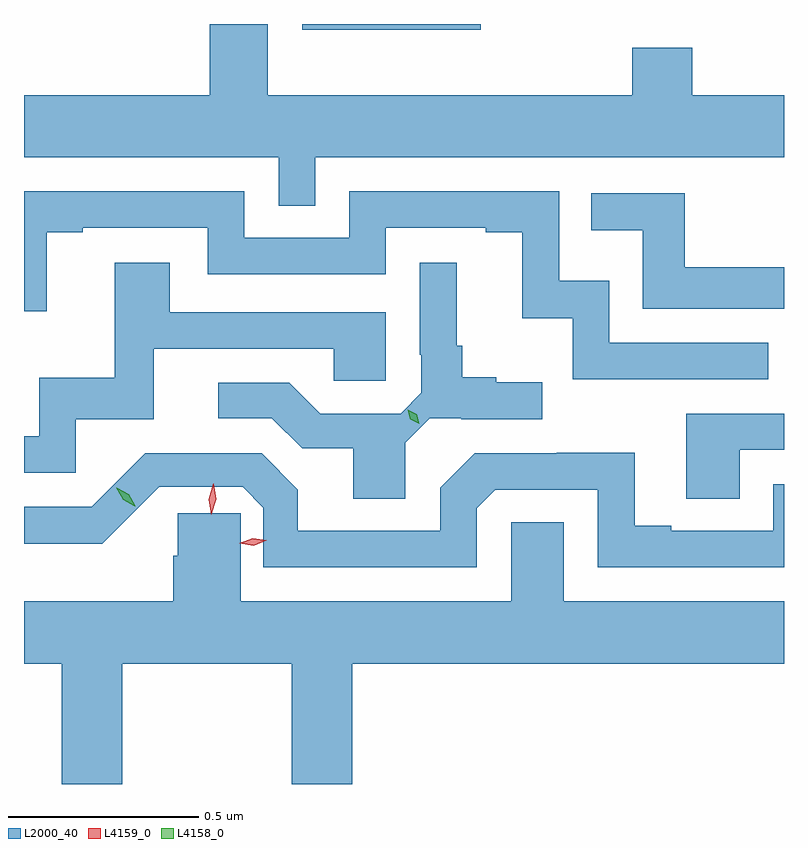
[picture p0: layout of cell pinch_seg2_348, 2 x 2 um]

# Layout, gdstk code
import gdstk
lib = gdstk.Library(unit=1e-6, precision=1e-09)
def R(c, l, rs):  # rectangles x0, y0, x1, y1
    for r in rs: c.add(gdstk.rectangle(r[:2], r[2:], *l))
def P(c, l, *ps):  # polygons
    for p in ps: c.add(gdstk.Polygon(p, *l))
L2000_40 = (2000, 40)
L4158_0 = (4158, 0)
L4159_0 = (4159, 0)

pinch_seg2_348 = lib.new_cell('pinch_seg2_348')
R(pinch_seg2_348, L2000_40, [(1012.496,635.984,1012.966,635.999)])
P(pinch_seg2_348, L2000_40, [(1012.53,635.648),(1013.764,635.648),(1013.764,635.812),(1013.522,635.812),(1013.522,635.936),(1013.365,635.936),(1013.365,635.812),(1012.405,635.812),(1012.405,635.999),(1012.253,635.999),(1012.253,635.812),(1011.764,635.812),(1011.764,635.648),(1012.434,635.648),(1012.434,635.521),(1012.53,635.521)],
  [(1013.723,635.16),(1013.304,635.16),(1013.304,635.323),(1013.172,635.323),(1013.172,635.559),(1012.62,635.559),(1012.62,635.436),(1012.344,635.436),(1012.344,635.559),(1011.764,635.559),(1011.764,635.243),(1011.824,635.243),(1011.824,635.451),(1011.919,635.451),(1011.919,635.463),(1012.248,635.463),(1012.248,635.34),(1012.716,635.34),(1012.716,635.463),(1012.979,635.463),(1012.979,635.451),(1013.075,635.451),(1013.075,635.225),(1013.208,635.225),(1013.208,635.064),(1013.723,635.064)],
  [(1013.764,635.359),(1013.503,635.359),(1013.503,635.553),(1013.257,635.553),(1013.257,635.456),(1013.392,635.456),(1013.392,635.25),(1013.764,635.25)],
  [(1012.767,634.897),(1012.832,634.962),(1012.914,634.962),(1012.914,634.959),(1013.128,634.959),(1013.128,635.056),(1013.007,635.056),(1013.007,635.07),(1012.917,635.07),(1012.917,635.152),(1012.903,635.152),(1012.903,635.371),(1012.806,635.371),(1012.806,635.128),(1012.809,635.128),(1012.809,635.028),(1012.755,634.974),(1012.543,634.974),(1012.462,635.055),(1012.275,635.055),(1012.275,634.962),(1012.416,634.962),(1012.496,634.882),(1012.631,634.882),(1012.631,634.75),(1012.767,634.75)],
  [(1011.9,634.959),(1012.105,634.959),(1012.105,635.145),(1012.579,635.145),(1012.579,635.06),(1012.716,635.06),(1012.716,635.241),(1012.147,635.241),(1012.147,635.371),(1012.003,635.371),(1012.003,635.068),(1011.804,635.068),(1011.804,634.914),(1011.764,634.914),(1011.764,634.818),(1011.9,634.818)],
  [(1013.647,634.878),(1013.764,634.878),(1013.764,634.974),(1013.507,634.974),(1013.507,634.75),(1013.647,634.75)],
  [(1012.956,634.725),(1013.004,634.773),(1013.274,634.773),(1013.274,634.569),(1013.764,634.569),(1013.764,634.788),(1013.736,634.788),(1013.736,634.665),(1013.467,634.665),(1013.467,634.678),(1013.371,634.678),(1013.371,634.871),(1013.166,634.871),(1013.166,634.869),(1012.95,634.869),(1012.86,634.779),(1012.86,634.665),(1012.484,634.665),(1012.484,634.774),(1012.389,634.869),(1012.083,634.869),(1011.942,634.728),(1011.764,634.728),(1011.764,634.631),(1011.97,634.631),(1012.12,634.781),(1012.339,634.781),(1012.394,634.726),(1012.394,634.569),(1012.956,634.569)],
  [(1012.023,634.316),(1012.468,634.316),(1012.468,633.999),(1012.628,633.999),(1012.628,634.316),(1013.764,634.316),(1013.764,634.48),(1013.185,634.48),(1013.185,634.688),(1013.046,634.688),(1013.046,634.48),(1012.334,634.48),(1012.334,634.711),(1012.169,634.711),(1012.169,634.6),(1012.157,634.6),(1012.157,634.48),(1011.764,634.48),(1011.764,634.316),(1011.863,634.316),(1011.863,633.999),(1012.023,633.999)])
P(pinch_seg2_348, L4158_0, [(1012.804,634.947),(1012.781,634.959),(1012.774,634.984),(1012.774,634.984),(1012.774,634.984),(1012.797,634.972),(1012.804,634.947),(1012.804,634.947)],
  [(1012.056,634.73),(1012.025,634.747),(1012.007,634.778),(1012.007,634.779),(1012.008,634.779),(1012.039,634.762),(1012.057,634.731),(1012.057,634.73)])
P(pinch_seg2_348, L4159_0, [(1012.368,634.626),(1012.331,634.632),(1012.331,634.632),(1012.331,634.632),(1012.366,634.646),(1012.403,634.641),(1012.403,634.641),(1012.403,634.64)],
  [(1012.257,634.708),(1012.257,634.708),(1012.25,634.749),(1012.262,634.789),(1012.262,634.789),(1012.263,634.789),(1012.27,634.748),(1012.257,634.708)])

lib.write_gds('pinch_seg2_348.gds')
